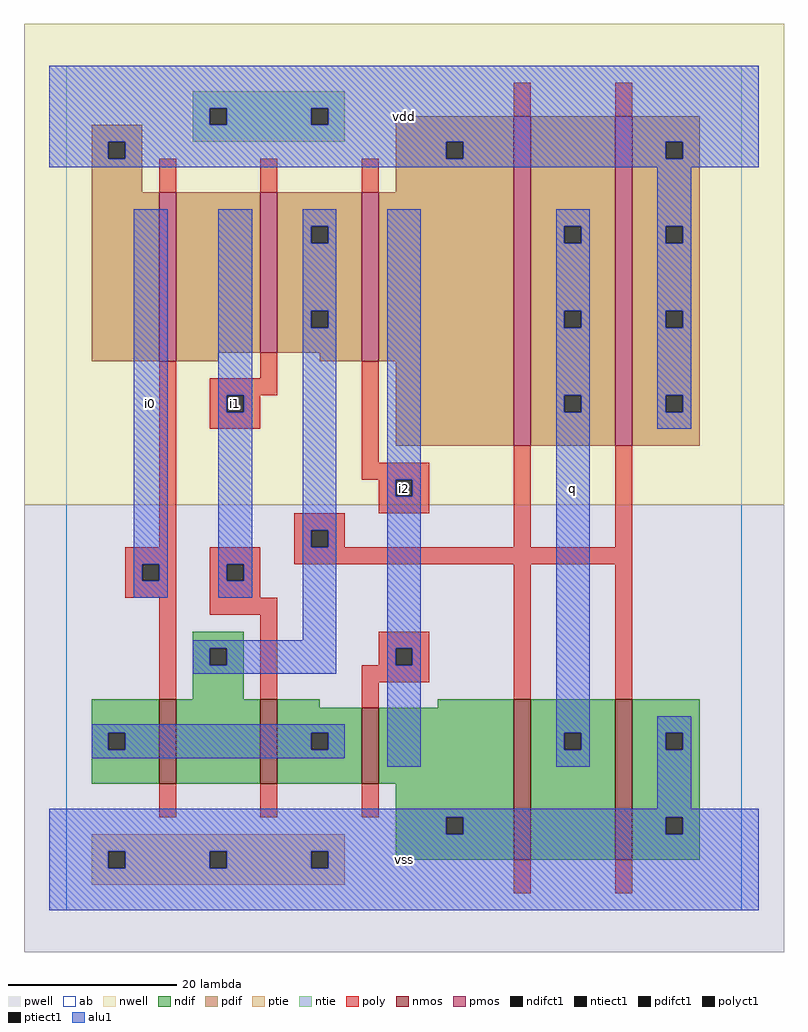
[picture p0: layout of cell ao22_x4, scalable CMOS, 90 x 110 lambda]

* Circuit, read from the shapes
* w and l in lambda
.subckt ao22_x4 i0 i1 i2 q vdd vss
M1 n1 i0 n2 vss nfet w=10 l=2
M2 n2 i1 n1 vss nfet w=10 l=2
M3 vss i2 n2 vss nfet w=9 l=2
M4 q n1 vss vss nfet w=19 l=2 m=2
M5 n3 i0 vdd vdd pfet w=20 l=2
M6 n1 i1 n3 vdd pfet w=19 l=2
M7 vdd i2 n1 vdd pfet w=20 l=2
M8 q n1 vdd vdd pfet w=39 l=2 m=2
.ends

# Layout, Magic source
magic
tech scmos
<< ab >>
rect 0 0 80 100
<< nwell >>
rect -5 48 85 105
<< pwell >>
rect -5 -5 85 48
<< poly >>
rect 53 94 55 98
rect 65 94 67 98
rect 11 85 13 89
rect 23 85 25 89
rect 35 85 37 89
rect 11 43 13 65
rect 23 63 25 66
rect 17 61 25 63
rect 17 59 19 61
rect 21 59 23 61
rect 17 57 23 59
rect 35 53 37 65
rect 35 51 43 53
rect 37 49 39 51
rect 41 49 43 51
rect 37 47 43 49
rect 27 45 33 47
rect 27 43 29 45
rect 31 43 33 45
rect 53 43 55 55
rect 65 43 67 55
rect 7 41 13 43
rect 7 39 9 41
rect 11 39 13 41
rect 7 37 13 39
rect 11 25 13 37
rect 17 41 23 43
rect 27 41 67 43
rect 17 39 19 41
rect 21 39 23 41
rect 17 37 23 39
rect 17 35 25 37
rect 23 25 25 35
rect 37 31 43 33
rect 37 29 39 31
rect 41 29 43 31
rect 35 27 43 29
rect 35 24 37 27
rect 53 25 55 41
rect 65 25 67 41
rect 11 11 13 15
rect 23 11 25 15
rect 35 11 37 15
rect 53 2 55 6
rect 65 2 67 6
<< ndif >>
rect 15 31 21 33
rect 15 29 17 31
rect 19 29 21 31
rect 15 25 21 29
rect 3 21 11 25
rect 3 19 5 21
rect 7 19 11 21
rect 3 15 11 19
rect 13 15 23 25
rect 25 24 30 25
rect 44 24 53 25
rect 25 21 35 24
rect 25 19 29 21
rect 31 19 35 21
rect 25 15 35 19
rect 37 15 53 24
rect 39 11 53 15
rect 39 9 45 11
rect 47 9 53 11
rect 39 6 53 9
rect 55 21 65 25
rect 55 19 59 21
rect 61 19 65 21
rect 55 6 65 19
rect 67 21 75 25
rect 67 19 71 21
rect 73 19 75 21
rect 67 11 75 19
rect 67 9 71 11
rect 73 9 75 11
rect 67 6 75 9
<< pdif >>
rect 3 91 9 93
rect 39 91 53 94
rect 3 89 5 91
rect 7 89 9 91
rect 39 89 45 91
rect 47 89 53 91
rect 3 85 9 89
rect 39 85 53 89
rect 3 65 11 85
rect 13 66 23 85
rect 25 81 35 85
rect 25 79 29 81
rect 31 79 35 81
rect 25 71 35 79
rect 25 69 29 71
rect 31 69 35 71
rect 25 66 35 69
rect 13 65 18 66
rect 30 65 35 66
rect 37 65 53 85
rect 39 55 53 65
rect 55 81 65 94
rect 55 79 59 81
rect 61 79 65 81
rect 55 71 65 79
rect 55 69 59 71
rect 61 69 65 71
rect 55 61 65 69
rect 55 59 59 61
rect 61 59 65 61
rect 55 55 65 59
rect 67 91 75 94
rect 67 89 71 91
rect 73 89 75 91
rect 67 81 75 89
rect 67 79 71 81
rect 73 79 75 81
rect 67 71 75 79
rect 67 69 71 71
rect 73 69 75 71
rect 67 61 75 69
rect 67 59 71 61
rect 73 59 75 61
rect 67 55 75 59
<< alu1 >>
rect -2 95 82 100
rect -2 93 17 95
rect 19 93 29 95
rect 31 93 82 95
rect -2 91 82 93
rect -2 89 5 91
rect 7 89 45 91
rect 47 89 71 91
rect 73 89 82 91
rect -2 88 82 89
rect 8 41 12 83
rect 8 39 9 41
rect 11 39 12 41
rect 8 37 12 39
rect 18 61 22 83
rect 18 59 19 61
rect 21 59 22 61
rect 18 41 22 59
rect 18 39 19 41
rect 21 39 22 41
rect 18 37 22 39
rect 28 81 32 83
rect 28 79 29 81
rect 31 79 32 81
rect 28 71 32 79
rect 28 69 29 71
rect 31 69 32 71
rect 28 45 32 69
rect 28 43 29 45
rect 31 43 32 45
rect 28 32 32 43
rect 15 31 32 32
rect 15 29 17 31
rect 19 29 32 31
rect 15 28 32 29
rect 38 51 42 83
rect 38 49 39 51
rect 41 49 42 51
rect 38 31 42 49
rect 38 29 39 31
rect 41 29 42 31
rect 3 21 33 22
rect 3 19 5 21
rect 7 19 29 21
rect 31 19 33 21
rect 3 18 33 19
rect 38 17 42 29
rect 58 81 62 83
rect 58 79 59 81
rect 61 79 62 81
rect 58 71 62 79
rect 58 69 59 71
rect 61 69 62 71
rect 58 61 62 69
rect 58 59 59 61
rect 61 59 62 61
rect 58 21 62 59
rect 70 81 74 88
rect 70 79 71 81
rect 73 79 74 81
rect 70 71 74 79
rect 70 69 71 71
rect 73 69 74 71
rect 70 61 74 69
rect 70 59 71 61
rect 73 59 74 61
rect 70 57 74 59
rect 58 19 59 21
rect 61 19 62 21
rect 58 17 62 19
rect 70 21 74 23
rect 70 19 71 21
rect 73 19 74 21
rect 70 12 74 19
rect -2 11 82 12
rect -2 9 45 11
rect 47 9 71 11
rect 73 9 82 11
rect -2 7 82 9
rect -2 5 5 7
rect 7 5 17 7
rect 19 5 29 7
rect 31 5 82 7
rect -2 0 82 5
<< ptie >>
rect 3 7 33 9
rect 3 5 5 7
rect 7 5 17 7
rect 19 5 29 7
rect 31 5 33 7
rect 3 3 33 5
<< ntie >>
rect 15 95 33 97
rect 15 93 17 95
rect 19 93 29 95
rect 31 93 33 95
rect 15 91 33 93
<< nmos >>
rect 11 15 13 25
rect 23 15 25 25
rect 35 15 37 24
rect 53 6 55 25
rect 65 6 67 25
<< pmos >>
rect 11 65 13 85
rect 23 66 25 85
rect 35 65 37 85
rect 53 55 55 94
rect 65 55 67 94
<< polyct1 >>
rect 19 59 21 61
rect 39 49 41 51
rect 29 43 31 45
rect 9 39 11 41
rect 19 39 21 41
rect 39 29 41 31
<< ndifct1 >>
rect 17 29 19 31
rect 5 19 7 21
rect 29 19 31 21
rect 45 9 47 11
rect 59 19 61 21
rect 71 19 73 21
rect 71 9 73 11
<< ntiect1 >>
rect 17 93 19 95
rect 29 93 31 95
<< ptiect1 >>
rect 5 5 7 7
rect 17 5 19 7
rect 29 5 31 7
<< pdifct1 >>
rect 5 89 7 91
rect 45 89 47 91
rect 29 79 31 81
rect 29 69 31 71
rect 59 79 61 81
rect 59 69 61 71
rect 59 59 61 61
rect 71 89 73 91
rect 71 79 73 81
rect 71 69 73 71
rect 71 59 73 61
<< labels >>
rlabel alu1 10 60 10 60 6 i0
rlabel polyct1 20 60 20 60 6 i1
rlabel alu1 40 6 40 6 6 vss
rlabel polyct1 40 50 40 50 6 i2
rlabel alu1 40 94 40 94 6 vdd
rlabel alu1 60 50 60 50 6 q
<< end >>
